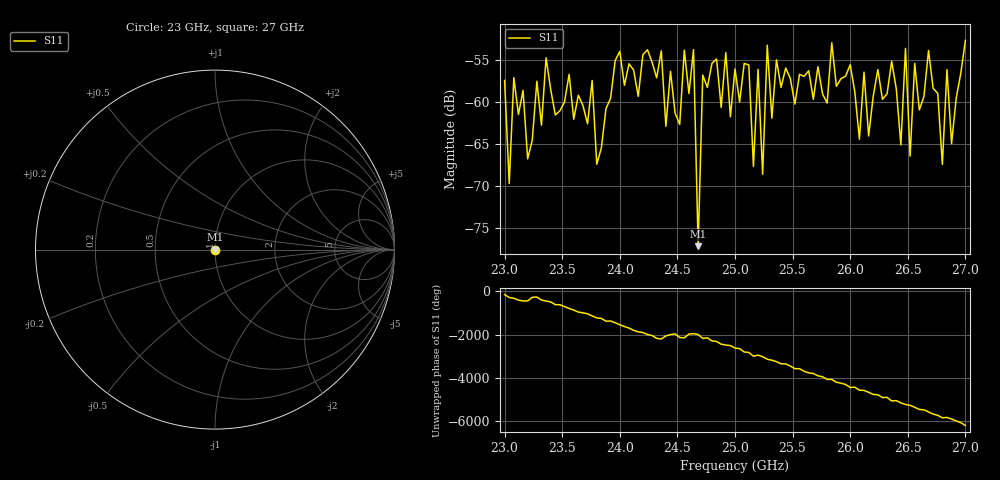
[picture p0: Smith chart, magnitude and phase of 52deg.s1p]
#  HZ  S  RI  R  50.00
! Rohde & Schwarz ZVA40 4Ports - Version 3.90 - 1145.1110k42 SN: 100403
! Date: 2023-09-26 11:07:04
! Measurement: S12
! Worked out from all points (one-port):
!   101 points, 23 GHz to 27 GHz, reference 50 ohm
!   lowest |S11| = -77.1 dB at 24.68 GHz (marker M1), VSWR 1.00, Z = 50 + j0.00326 ohm
!   |S11| at or under -10 dB: start of sweep to end of sweep
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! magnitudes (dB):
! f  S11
! 23 GHz  -57.4
! 23.04 GHz  -69.7
! 23.08 GHz  -57.1
! 23.2 GHz  -66.7
! 23.36 GHz  -54.7
! 23.52 GHz  -60.0
! 23.76 GHz  -57.4
! 23.8 GHz  -67.4
! 24 GHz  -54.0
! 24.52 GHz  -62.6
! 24.64 GHz  -53.8
! 24.68 GHz  -77.1
! 24.72 GHz  -56.8
! 25 GHz  -56.1
! 25.12 GHz  -55.6
! 25.16 GHz  -67.6
! 25.2 GHz  -56.1
! 25.24 GHz  -68.6
! 25.28 GHz  -53.2
! 25.52 GHz  -60.2
! 26 GHz  -55.6
! 26.44 GHz  -65.1
! 26.48 GHz  -53.6
! 26.52 GHz  -66.4
! 26.56 GHz  -55.4
! 26.8 GHz  -67.4
! 26.84 GHz  -56.1
! 27 GHz  -52.7
